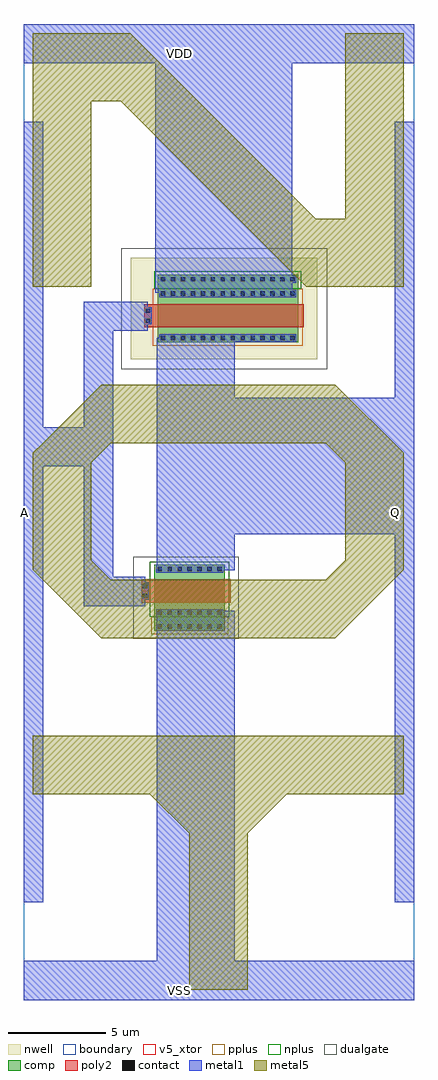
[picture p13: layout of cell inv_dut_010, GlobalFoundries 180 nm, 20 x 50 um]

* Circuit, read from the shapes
.subckt inv_dut_010 A Q VDD VSS
XM1 Q A VSS VSS nfet_05v0 w=3.6u l=1.2u
XM2 VDD A Q VDD pfet_05v0 w=7.2u l=1.2u
.ends

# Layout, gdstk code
from math import pi, radians
import gdstk
lib = gdstk.Library(unit=1e-6, precision=1e-09)
def R(c, l, rs):  # rectangles x0, y0, x1, y1
    for r in rs: c.add(gdstk.rectangle(r[:2], r[2:], *l))
def A(c, l, x, y, w, h, nx, ny, dx, dy):  # array of equal rectangles
    R(c, l, [(x+i*dx, y+j*dy, x+i*dx+w, y+j*dy+h) for i in range(nx) for j in range(ny)])
def P(c, l, *ps):  # polygons
    for p in ps: c.add(gdstk.Polygon(p, *l))
boundary = (0, 0)
nwell = (21, 0)
comp = (22, 0)
poly2 = (30, 0)
pplus = (31, 0)
nplus = (32, 0)
contact = (33, 0)
metal1 = (34, 0)
dualgate = (55, 0)
metal5 = (81, 0)
v5_xtor = (112, 1)

not_art = lib.new_cell('NOT_ART')
P(not_art, metal5, [(-1.535,-24.47),(-1.535,-16.47),(-3.535,-14.47),(-9.535,-14.47),(-9.535,-11.47),(9.465,-11.47),(9.465,-14.47),(3.465,-14.47),(1.465,-16.47),(1.465,-24.47)],
  [(-6.035,-6.47),(-9.535,-2.97),(-9.535,3.03),(-9.035,3.53),(-5.535,3.53),(-6.535,2.53),(-6.535,-2.47),(-5.535,-3.47),(5.465,-3.47),(6.465,-2.47),(6.465,2.53),(5.465,3.53),(-9.035,3.53),(-6.035,6.53),(5.965,6.53),(9.465,3.03),(9.465,-2.97),(5.965,-6.47)],
  [(-9.535,11.53),(-9.535,24.53),(-4.535,24.53),(4.965,15.03),(6.465,15.03),(6.465,24.53),(9.465,24.53),(9.465,11.53),(4.465,11.53),(-5.035,21.03),(-6.535,21.03),(-6.535,11.53)])

nfet_21 = lib.new_cell('nfet$21')
R(nfet_21, comp, [(-0.42,0,2.95,3.6)])
R(nfet_21, poly2, [(0.31,-0.66,1.51,3.9)])
R(nfet_21, pplus, [(2.24,-0.17,3.12,3.77)])
R(nfet_21, nplus, [(-0.59,-0.24,2.24,3.84)])
A(nfet_21, contact, -0.32, 0.16, 0.22, 0.22, 1, 7, 0, 0.51)
A(nfet_21, contact, 1.92, 0.16, 0.22, 0.22, 1, 7, 0, 0.51)
A(nfet_21, contact, 2.63, 0.16, 0.22, 0.22, 1, 7, 0, 0.51)
R(nfet_21, contact, [(0.545,-0.59,0.765,-0.37), (1.055,-0.59,1.275,-0.37)])
R(nfet_21, metal1, [(0.465,-0.67,1.355,-0.29), (-0.4,0.08,-0.02,3.52), (1.84,0.08,2.22,3.52), (2.55,0.08,2.93,3.52)])
R(nfet_21, dualgate, [(-0.84,-1.08,3.37,4.31)])
R(nfet_21, v5_xtor, [(-0.84,-1.08,3.37,4.31)])

pfet_19 = lib.new_cell('pfet$19')
R(pfet_19, nwell, [(-1.32,-0.99,3.87,8.57)])
R(pfet_19, comp, [(-0.46,0,3.01,7.2)])
R(pfet_19, poly2, [(0.31,-0.3,1.51,7.88)])
R(pfet_19, pplus, [(-0.63,-0.24,2.28,7.44)])
R(pfet_19, nplus, [(2.28,-0.17,3.18,7.37)])
A(pfet_19, contact, -0.34, 0.175, 0.22, 0.22, 1, 14, 0, 0.51)
A(pfet_19, contact, 1.94, 0.175, 0.22, 0.22, 1, 14, 0, 0.51)
A(pfet_19, contact, 2.67, 0.175, 0.22, 0.22, 1, 14, 0, 0.51)
R(pfet_19, contact, [(0.545,7.58,0.765,7.8), (1.055,7.58,1.275,7.8)])
R(pfet_19, metal1, [(-0.42,0.095,-0.04,7.105), (1.86,0.095,2.24,7.105), (2.59,0.095,2.97,7.105), (0.465,7.5,1.355,7.88)])
R(pfet_19, dualgate, [(-1.82,-1.49,4.37,9.07)])
R(pfet_19, v5_xtor, [(-1.82,-1.49,4.37,9.07)])

area_010 = lib.new_cell('AREA_010')

area_010_1 = lib.new_cell('AREA_010$1')

inv_dut_010 = lib.new_cell('inv_dut_010')
R(inv_dut_010, boundary, [(-10,-25,10,25)])
R(inv_dut_010, metal1, [(-10,-25,10,-23), (-10,-20,-9,20), (9,-20,10,20), (-10,23,10,25)])
inv_dut_010.add(gdstk.FlexPath([(0.24,11.22),(0.24,23.185)], 7, ends="flush", simple_path=True, layer=34, datatype=0))  # metal1
inv_dut_010.add(gdstk.FlexPath([(-1.19,-5.055),(-1.19,-23.21)], 4, ends="flush", simple_path=True, layer=34, datatype=0))  # metal1
inv_dut_010.add(gdstk.FlexPath([(-9.345,3.345),(-6.8,3.345)], 2, ends="flush", simple_path=True, layer=34, datatype=0))  # metal1
inv_dut_010.add(gdstk.FlexPath([(-3.655,10.03),(-6.18,10.03),(-6.18,-4.075),(-3.785,-4.075)], 1.5, ends="flush", simple_path=True, layer=34, datatype=0))  # metal1
inv_dut_010.add(gdstk.FlexPath([(0.52,2.36),(9.12,2.36)], 7, ends="flush", simple_path=True, layer=34, datatype=0))  # metal1
inv_dut_010.add(gdstk.FlexPath([(-1.195,-2.985),(-1.195,8.93)], 4, ends="flush", simple_path=True, layer=34, datatype=0))  # metal1
inv_dut_010.add(gdstk.Reference(not_art, (0,0)))
inv_dut_010.add(gdstk.Reference(nfet_21, (-3.305,-3.13), rotation=3*pi/2))
inv_dut_010.add(gdstk.Reference(pfet_19, (4.05,9.145), rotation=pi/2))
inv_dut_010.add(gdstk.Reference(area_010, (0,0)))
inv_dut_010.add(gdstk.Reference(area_010_1, (0,0)))
inv_dut_010.add(gdstk.Label('VDD', (-2,23.5), layer=34, texttype=10))
inv_dut_010.add(gdstk.Label('VSS', (-2,-24.5), layer=34, texttype=10))
inv_dut_010.add(gdstk.Label('A', (-9.97,0), layer=34, texttype=10))
inv_dut_010.add(gdstk.Label('Q', (9.03,0), layer=34, texttype=10))

lib.write_gds('inv_dut_010.gds')
